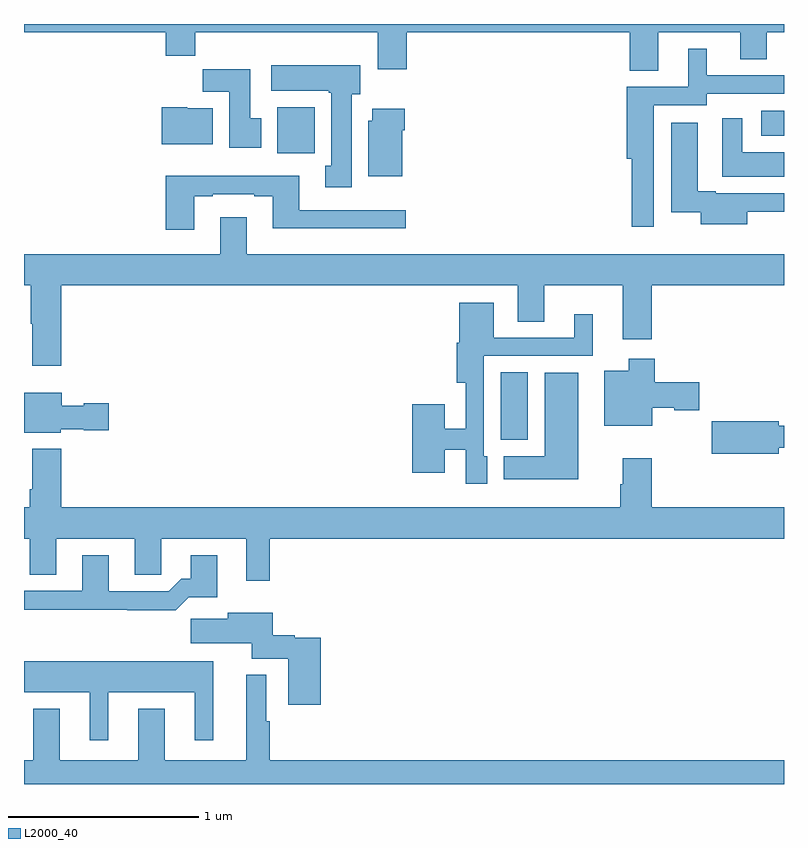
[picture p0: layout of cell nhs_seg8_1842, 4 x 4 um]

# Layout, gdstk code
import gdstk
lib = gdstk.Library(unit=1e-6, precision=1e-09)
def R(c, l, rs):  # rectangles x0, y0, x1, y1
    for r in rs: c.add(gdstk.rectangle(r[:2], r[2:], *l))
def P(c, l, *ps):  # polygons
    for p in ps: c.add(gdstk.Polygon(p, *l))
L2000_40 = (2000, 40)

nhs_seg8_1842 = lib.new_cell('nhs_seg8_1842')
R(nhs_seg8_1842, L2000_40, [(231.509,1091.711,231.652,1092.068), (230.333,1093.22,230.53,1093.462), (232.881,1093.313,233,1093.444)])
P(nhs_seg8_1842, L2000_40, [(232.339,1093.856),(232.769,1093.856),(232.769,1093.714),(232.909,1093.714),(232.909,1093.856),(233,1093.856),(233,1093.9),(229,1093.9),(229,1093.856),(229.745,1093.856),(229.745,1093.732),(229.901,1093.732),(229.901,1093.856),(230.861,1093.856),(230.861,1093.662),(231.014,1093.662),(231.014,1093.856),(232.187,1093.856),(232.187,1093.654),(232.339,1093.654)],
  [(232.314,1093.473),(232.593,1093.473),(232.593,1093.533),(233,1093.533),(233,1093.629),(232.594,1093.629),(232.594,1093.771),(232.496,1093.771),(232.496,1093.569),(232.172,1093.569),(232.172,1093.19),(232.198,1093.19),(232.198,1092.834),(232.314,1092.834)],
  [(230.725,1093.53),(230.77,1093.53),(230.77,1093.684),(230.301,1093.684),(230.301,1093.55),(230.605,1093.55),(230.605,1093.537),(230.618,1093.537),(230.618,1093.154),(230.585,1093.154),(230.585,1093.041),(230.725,1093.041)],
  [(230.248,1093.404),(230.191,1093.404),(230.191,1093.663),(229.942,1093.663),(229.942,1093.544),(230.081,1093.544),(230.081,1093.248),(230.248,1093.248)],
  [(229.993,1093.456),(229.86,1093.456),(229.86,1093.462),(229.724,1093.462),(229.724,1093.268),(229.993,1093.268)],
  [(230.992,1093.34),(231.005,1093.34),(231.005,1093.453),(230.834,1093.453),(230.834,1093.392),(230.813,1093.392),(230.813,1093.1),(230.992,1093.1)],
  [(233,1093.225),(232.78,1093.225),(232.78,1093.405),(232.676,1093.405),(232.676,1093.097),(233,1093.097)],
  [(232.807,1092.912),(233,1092.912),(233,1093.008),(232.642,1093.008),(232.642,1093.021),(232.546,1093.021),(232.546,1093.381),(232.406,1093.381),(232.406,1092.91),(232.562,1092.91),(232.562,1092.845),(232.807,1092.845)],
  [(229.897,1092.993),(229.993,1092.993),(229.993,1093.005),(230.213,1093.005),(230.213,1092.993),(230.309,1092.993),(230.309,1092.824),(231.01,1092.824),(231.01,1092.921),(230.449,1092.921),(230.449,1093.102),(229.745,1093.102),(229.745,1092.816),(229.897,1092.816)],
  [(229.196,1092.524),(231.599,1092.524),(231.599,1092.334),(231.739,1092.334),(231.739,1092.524),(232.151,1092.524),(232.151,1092.24),(232.304,1092.24),(232.304,1092.524),(233,1092.524),(233,1092.688),(230.173,1092.688),(230.173,1092.883),(230.033,1092.883),(230.033,1092.688),(229,1092.688),(229,1092.524),(229.036,1092.524),(229.036,1092.322),(229.043,1092.322),(229.043,1092.102),(229.196,1092.102)],
  [(231.439,1091.625),(231.42,1091.625),(231.42,1092.153),(231.994,1092.153),(231.994,1092.373),(231.896,1092.373),(231.896,1092.249),(231.472,1092.249),(231.472,1092.433),(231.29,1092.433),(231.29,1092.222),(231.278,1092.222),(231.278,1092.011),(231.324,1092.011),(231.324,1091.769),(231.214,1091.769),(231.214,1091.899),(231.044,1091.899),(231.044,1091.538),(231.214,1091.538),(231.214,1091.658),(231.324,1091.658),(231.324,1091.481),(231.439,1091.481)],
  [(232.306,1091.879),(232.422,1091.879),(232.422,1091.867),(232.555,1091.867),(232.555,1092.014),(232.319,1092.014),(232.319,1092.139),(232.184,1092.139),(232.184,1092.076),(232.055,1092.076),(232.055,1091.786),(232.306,1091.786)],
  [(231.916,1092.064),(231.74,1092.064),(231.74,1091.626),(231.524,1091.626),(231.524,1091.504),(231.916,1091.504)],
  [(229.194,1091.768),(229.314,1091.768),(229.314,1091.761),(229.447,1091.761),(229.447,1091.903),(229.314,1091.903),(229.314,1091.89),(229.198,1091.89),(229.198,1091.959),(229,1091.959),(229,1091.75),(229.194,1091.75)],
  [(232.972,1091.67),(233,1091.67),(233,1091.786),(232.972,1091.786),(232.972,1091.81),(232.62,1091.81),(232.62,1091.639),(232.972,1091.639)],
  [(230.293,1091.192),(233,1091.192),(233,1091.356),(232.304,1091.356),(232.304,1091.614),(232.151,1091.614),(232.151,1091.477),(232.139,1091.477),(232.139,1091.356),(229.196,1091.356),(229.196,1091.665),(229.043,1091.665),(229.043,1091.452),(229.031,1091.452),(229.031,1091.356),(229,1091.356),(229,1091.192),(229.031,1091.192),(229.031,1091.002),(229.171,1091.002),(229.171,1091.192),(229.583,1091.192),(229.583,1091.002),(229.722,1091.002),(229.722,1091.192),(230.171,1091.192),(230.171,1090.971),(230.293,1090.971)],
  [(229.868,1090.883),(230.017,1090.883),(230.017,1091.104),(229.877,1091.104),(229.877,1090.981),(229.828,1090.981),(229.761,1090.914),(229.447,1090.914),(229.447,1091.104),(229.307,1091.104),(229.307,1090.917),(229,1090.917),(229,1090.816),(229.543,1090.816),(229.543,1090.814),(229.799,1090.814)],
  [(230.561,1090.669),(230.424,1090.669),(230.424,1090.682),(230.308,1090.682),(230.308,1090.801),(230.072,1090.801),(230.072,1090.769),(229.878,1090.769),(229.878,1090.64),(230.198,1090.64),(230.198,1090.559),(230.39,1090.559),(230.39,1090.317),(230.561,1090.317)],
  [(229.444,1090.382),(229.898,1090.382),(229.898,1090.131),(229.996,1090.131),(229.996,1090.546),(229,1090.546),(229,1090.382),(229.346,1090.382),(229.346,1090.131),(229.444,1090.131)],
  [(233,1090.024),(230.293,1090.024),(230.293,1090.229),(230.275,1090.229),(230.275,1090.474),(230.171,1090.474),(230.171,1090.024),(229.741,1090.024),(229.741,1090.297),(229.601,1090.297),(229.601,1090.024),(229.189,1090.024),(229.189,1090.297),(229.049,1090.297),(229.049,1090.024),(229,1090.024),(229,1089.9),(233,1089.9)])

lib.write_gds('nhs_seg8_1842.gds')
